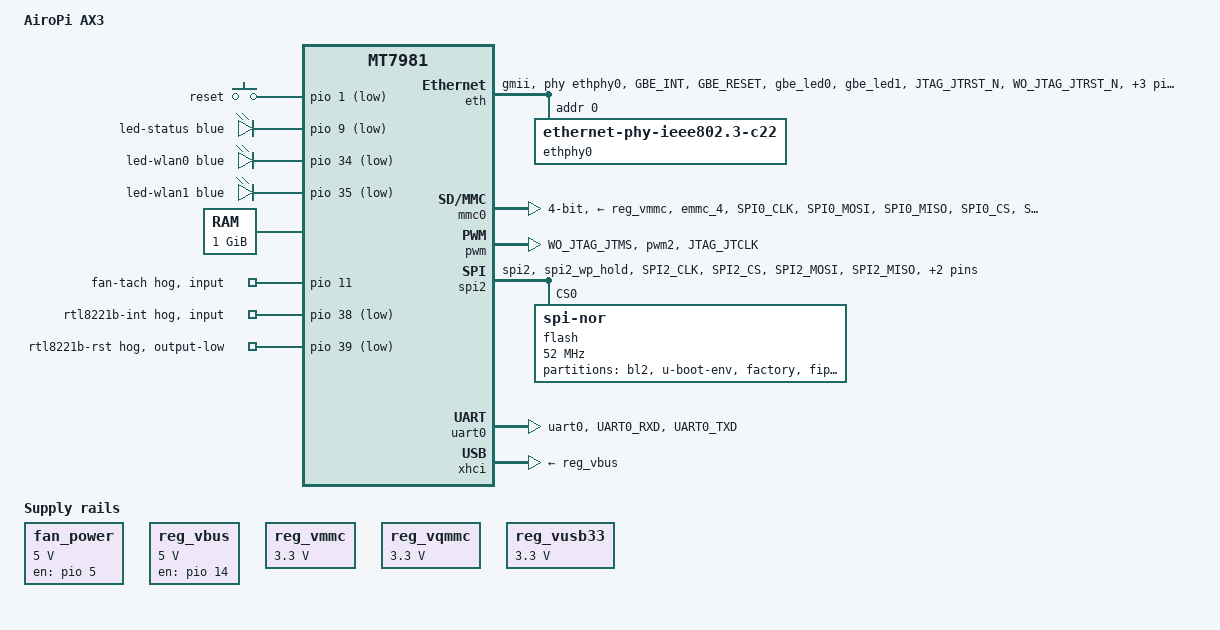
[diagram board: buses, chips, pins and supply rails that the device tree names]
// SPDX-License-Identifier: GPL-2.0-or-later OR MIT

/dts-v1/;

#include <dt-bindings/gpio/gpio.h>
#include <dt-bindings/input/input.h>
#include <dt-bindings/leds/common.h>
#include <dt-bindings/pinctrl/mt65xx.h>

#include "mt7981.dtsi"

/ {
	compatible = "airopi,ax3", "mediatek,mt7981";
	model = "AiroPi AX3";

	aliases {
		serial0 = &uart0;
	};

	chosen {
		stdout-path = "serial0:115200n8";
		tick-timer = &timer0;
	};

	gpio-keys {
		compatible = "gpio-keys";
		pinctrl-names = "default";
		pinctrl-0 = <&keys_pins>;

		button-reset {
			label = "reset";
			linux,code = <KEY_RESTART>;
			gpios = <&pio 1 GPIO_ACTIVE_LOW>;
		};
	};

	gpio-leds {
		compatible = "gpio-leds";
		pinctrl-names = "default";
		pinctrl-0 = <&leds_pins>;

		led-status {
			color = <LED_COLOR_ID_BLUE>;
			function = LED_FUNCTION_STATUS;
			gpios = <&pio 9 GPIO_ACTIVE_LOW>;
			default-state = "on";
		};

		led-wlan0 {
			color = <LED_COLOR_ID_BLUE>;
			function = LED_FUNCTION_WLAN_2GHZ;
			gpios = <&pio 34 GPIO_ACTIVE_LOW>;
			default-state = "off";
		};

		led-wlan1 {
			color = <LED_COLOR_ID_BLUE>;
			function = LED_FUNCTION_WLAN_5GHZ;
			gpios = <&pio 35 GPIO_ACTIVE_LOW>;
			default-state = "off";
		};
	};

	memory@40000000 {
		reg = <0x40000000 0x40000000>;
		device_type = "memory";
	};

	options {
		u-boot {
			compatible = "u-boot,config";
			boot-btn1 = "reset";
			boot-led1 = "blue:status";
			bootcmd_1-1 = "tftp_boot_ik";
			bootcmd_1-2 = "tftp_update_fw";
			bootcmd_1-3 = "switch_bootdev";
			bootcmd_1-4 = "env init";
		};
	};

	regulator-fan {
		compatible = "regulator-fixed";
		enable-active-high;
		gpios = <&pio 5 GPIO_ACTIVE_HIGH>;
		pinctrl-names = "default";
		pinctrl-0 = <&fan_power_pins>;
		regulator-boot-on;
		regulator-max-microvolt = <5000000>;
		regulator-min-microvolt = <5000000>;
		regulator-name = "fan_power";
	};

	/* broken regulator, wrong voltage */
	reg_vbus: regulator-vbus {
		compatible = "regulator-fixed";
		enable-active-high;
		gpios = <&pio 14 GPIO_ACTIVE_HIGH>;
		pinctrl-names = "default";
		pinctrl-0 = <&usb_vbus_pins>;
		regulator-boot-on;
		regulator-max-microvolt = <5000000>;
		regulator-min-microvolt = <5000000>;
		regulator-name = "usb_vbus";
	};

	reg_vmmc: regulator-vmmc {
		compatible = "regulator-fixed";
		regulator-always-on;
		regulator-max-microvolt = <3300000>;
		regulator-min-microvolt = <3300000>;
		regulator-name = "mmc_power";
	};

	reg_vqmmc: regulator-vqmmc {
		compatible = "regulator-fixed";
		regulator-always-on;
		regulator-max-microvolt = <3300000>;
		regulator-min-microvolt = <3300000>;
		regulator-name = "mmc_io";
	};

	reg_vusb33: regulator-vusb33 {
		compatible = "regulator-fixed";
		regulator-always-on;
		regulator-max-microvolt = <3300000>;
		regulator-min-microvolt = <3300000>;
		regulator-name = "usb_io";
	};

	reserved-memory {
		#address-cells = <1>;
		#size-cells = <1>;
		ranges;

		ramoops@42ff0000 {
			compatible = "ramoops";
			reg = <0x42ff0000 0x00010000>;
			console-size = <0x8000>;
			record-size = <0x2000>;
		};

		secmon@43000000 {
			reg = <0x43000000 0x00030000>;
			no-map;
		};
	};
};

&eth {
	mediatek,gmac-id = <1>;
	phy-mode = "gmii";
	phy-handle = <&ethphy0>;
	pinctrl-names = "default";
	pinctrl-0 = <&ephy_2p5g_pins>, <&gbe_leds_pins>, <&mdio_pins>;
	status = "okay";

	ethphy0: ethernet-phy@0 {
		compatible = "ethernet-phy-ieee802.3-c22";
		reg = <0>;
		phy-mode = "gmii";
	};
};

&mmc0 {
	assigned-clock-parents = <&topckgen CLK_TOP_CB_NET2_D4>,
				 <&topckgen CLK_TOP_CB_NET2_D2>;
	broken-cd;
	bus-width = <4>;
	cap-sd-highspeed;
	disable-wp;
	max-frequency = <50000000>;
	no-1-8-v;
	no-mmc;
	no-sdio;
	pinctrl-names = "default";
	pinctrl-0 = <&mmc_pins>;
	vmmc-supply = <&reg_vmmc>;
	vqmmc-supply = <&reg_vqmmc>;
	status = "okay";
};

&pio {
	ephy_2p5g_pins: ephy-2p5g-pins {
		conf-int {
			bias-disable;
			input-enable;
			input-schmitt-enable;
			drive-strength = <MTK_DRIVE_2mA>;
			pins = "GBE_INT";
		};

		conf-rst {
			bias-disable;
			output-enable;
			drive-strength = <MTK_DRIVE_4mA>;
			pins = "GBE_RESET";
		};
	};

	fan_power_pins: fan-power-pins {
		conf {
			bias-disable;
			output-enable;
			drive-strength = <MTK_DRIVE_8mA>;
			pins = "JTAG_JTDI";
		};
	};

	fan_tach_pins: fan-tach-pins {
		conf {
			input-enable;
			input-schmitt-enable;
			bias-pull-up = <MTK_PUPD_SET_R1R0_11>;
			drive-strength = <MTK_DRIVE_2mA>;
			pins = "WO_JTAG_JTMS";
		};
	};

	gbe_leds_pins: gbe-leds-pins {
		mux {
			function = "led";
			groups = "gbe_led0", "gbe_led1";
		};

		conf {
			bias-disable;
			output-enable;
			drive-strength = <MTK_DRIVE_4mA>;
			pins = "JTAG_JTRST_N", "WO_JTAG_JTRST_N";
		};
	};

	keys_pins: keys-pins {
		conf {
			bias-disable;
			input-enable;
			input-schmitt-enable;
			drive-strength = <MTK_DRIVE_2mA>;
			pins = "GPIO_RESET";
		};
	};

	leds_pins: leds-pins {
		conf {
			bias-disable;
			output-enable;
			drive-strength = <MTK_DRIVE_4mA>;
			pins = "WO_JTAG_JTDO", "PCIE_CLK_REQ", "PCIE_WAKE_N";
		};
	};

	mdio_pins: mdc-mdio-pins {
		mux {
			function = "eth";
			groups = "smi_mdc_mdio";
		};

		conf-clk {
			bias-disable;
			output-enable;
			drive-strength = <MTK_DRIVE_4mA>;
			pins = "SMI_MDC";
		};

		conf-io {
			bias-disable;
			input-enable;
			drive-strength = <MTK_DRIVE_4mA>;
			pins = "SMI_MDIO";
		};
	};

	mmc_pins: mmc-pins {
		mux {
			function = "flash";
			groups = "emmc_4";
		};

		conf-cmd-dat {
			input-enable;
			bias-pull-up = <MTK_PUPD_SET_R1R0_01>;
			drive-strength = <MTK_DRIVE_4mA>;
			pins = "SPI0_CLK", "SPI0_MOSI", "SPI0_MISO",
			       "SPI0_CS", "SPI1_MISO";
		};

		conf-clk {
			output-enable;
			bias-pull-down = <MTK_PUPD_SET_R1R0_10>;
			drive-strength = <MTK_DRIVE_8mA>;
			pins = "SPI1_CS";
		};
	};

	pwm2_pins: pwm2-pins {
		mux {
			function = "pwm";
			groups = "pwm2";
		};

		conf {
			bias-disable;
			output-enable;
			drive-strength = <MTK_DRIVE_8mA>;
			pins = "JTAG_JTCLK";
		};
	};

	spi2_pins: spi2-pins {
		mux {
			function = "spi";
			groups = "spi2", "spi2_wp_hold";
		};

		conf-clk-cs {
			bias-disable;
			output-enable;
			drive-strength = <MTK_DRIVE_4mA>;
			pins = "SPI2_CLK", "SPI2_CS";
		};

		conf-dat {
			bias-disable;
			input-enable;
			drive-strength = <MTK_DRIVE_4mA>;
			pins = "SPI2_MOSI", "SPI2_MISO", "SPI2_HOLD", "SPI2_WP";
		};
	};

	uart0_pins: uart0-pins {
		mux {
			function = "uart";
			groups = "uart0";
		};

		conf-rx {
			bias-disable;
			input-enable;
			input-schmitt-enable;
			drive-strength = <MTK_DRIVE_2mA>;
			pins = "UART0_RXD";
		};

		conf-tx {
			bias-disable;
			output-enable;
			drive-strength = <MTK_DRIVE_4mA>;
			pins = "UART0_TXD";
		};
	};

	usb_vbus_pins: usb-vbus-pins {
		conf {
			bias-disable;
			output-enable;
			drive-strength = <MTK_DRIVE_8mA>;
			pins = "USB_VBUS";
		};
	};

	fan-tach {
		gpio-hog;
		gpios = <11 GPIO_ACTIVE_HIGH>;
		input;
	};

	rtl8221b-int {
		gpio-hog;
		gpios = <38 GPIO_ACTIVE_LOW>;
		input;
	};

	rtl8221b-rst {
		gpio-hog;
		gpios = <39 GPIO_ACTIVE_LOW>;
		output-low;
	};
};

&pwm {
	pinctrl-names = "default";
	pinctrl-0 = <&fan_tach_pins>, <&pwm2_pins>;
	status = "okay";
};

&spi2 {
	compatible = "mediatek,spi-ipm";
	#address-cells = <1>;
	#size-cells = <0>;
	clocks = <&topckgen CLK_TOP_CB_M_D2>,
		 <&topckgen CLK_TOP_SPI_SEL>,
		 <&infracfg CLK_INFRA_SPI2_CK>,
		 <&infracfg CLK_INFRA_SPI2_HCK_CK>;
	clock-names = "parent-clk", "sel-clk", "spi-clk", "hclk";
	pinctrl-names = "default";
	pinctrl-0 = <&spi2_pins>;
	status = "okay";

	flash@0 {
		compatible = "jedec,spi-nor";
		reg = <0>;
		m25p,fast-read;
		spi-max-frequency = <52000000>;
		spi-rx-bus-width = <4>;
		spi-tx-bus-width = <4>;

		partitions {
			compatible = "fixed-partitions";
			#address-cells = <1>;
			#size-cells = <1>;

			partition@0 {
				label = "bl2";
				reg = <0x000000 0x040000>;
			};

			partition@40000 {
				label = "u-boot-env";
				reg = <0x040000 0x010000>;
			};

			partition@50000 {
				label = "factory";
				reg = <0x050000 0x0b0000>;
			};

			partition@100000 {
				label = "fip";
				reg = <0x100000 0x080000>;
			};

			partition@180000 {
				label = "firmware";
				reg = <0x180000 0x000000>;
			};
		};
	};
};

&uart0 {
	pinctrl-names = "default";
	pinctrl-0 = <&uart0_pins>;
	status = "okay";
};

&xhci {
	/delete-property/ mediatek,u3p-dis-msk;
	vbus-supply = <&reg_vbus>;
	vusb33-supply = <&reg_vusb33>;
};
